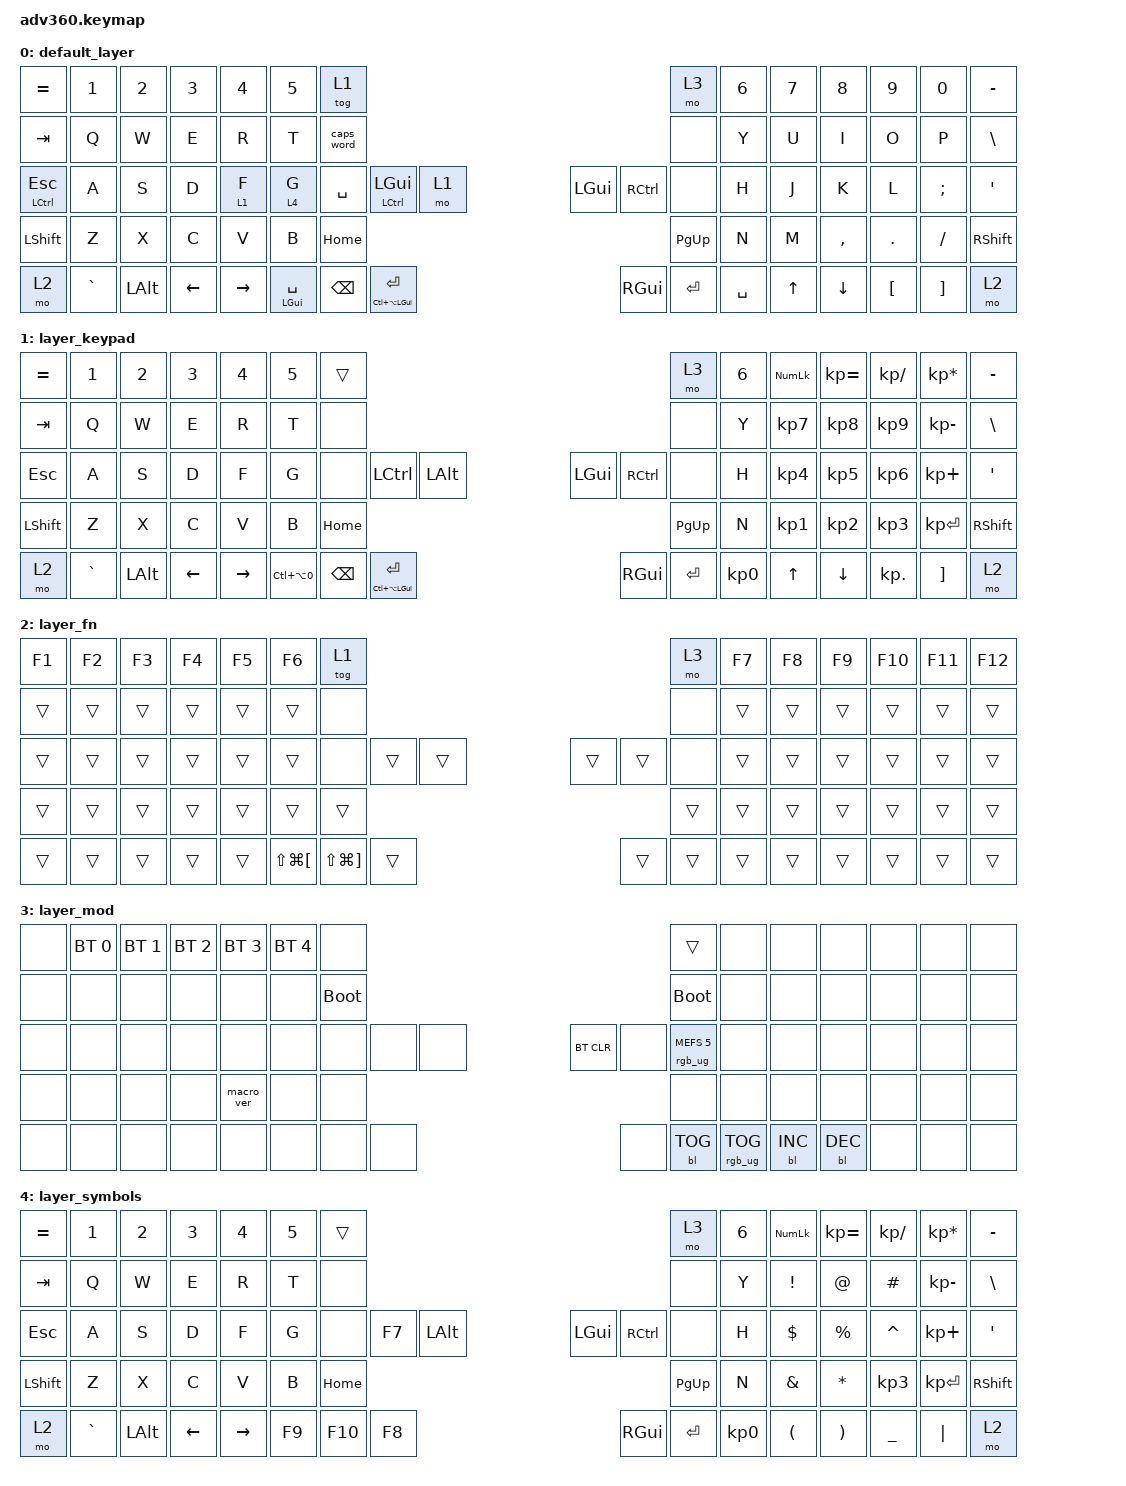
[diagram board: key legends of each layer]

/*
 * Copyright (c) 2020 The ZMK Contributors
 *
 * SPDX-License-Identifier: MIT
 */


/* THIS FILE WAS GENERATED!
 *
 * This file was generated automatically. You may or may not want to
 * edit it directly.
 */

#include <behaviors.dtsi>
#include <dt-bindings/zmk/keys.h>
#include <dt-bindings/zmk/bt.h>
#include <dt-bindings/zmk/rgb.h>
#include <dt-bindings/zmk/backlight.h>

/ {
  behaviors {
    #include "macros.dtsi"
    #include "version.dtsi"

    hm: homerow_mods {
        compatible = "zmk,behavior-hold-tap";
        label = "HOMEROW_MODS";
        #binding-cells = <2>;
        tapping-term-ms = <200>;
        quick_tap_ms = <175>;
        flavor = "tap-preferred";
        bindings = <&kp>, <&kp>;
    };
  };

    keymap {
        compatible = "zmk,keymap";


        default_layer {
            bindings = <
 &kp EQUAL     &kp N1    &kp N2    &kp N3     &kp N4   &kp N5            &tog 1                                                                                    &mo 3       &kp N6  &kp N7      &kp N8    &kp N9    &kp N0   &kp MINUS
  &kp TAB      &kp Q     &kp W     &kp E      &kp R    &kp T             &caps_word                                                                                &none       &kp Y   &kp U       &kp I     &kp O     &kp P   &kp BSLH
 &mt LCTRL ESC &kp A     &kp S     &kp D    &lt 1 F    &lt 4 G           &kp SPACE           &mt LCTRL LGUI  &mo 1                        &kp LGUI   &kp RCTRL     &none       &kp H   &kp J       &kp K     &kp L  &kp SEMI    &kp SQT
 &kp LSHFT     &kp Z     &kp X     &kp C      &kp V    &kp B                                                 &kp HOME                     &kp PG_UP                            &kp N   &kp M   &kp COMMA   &kp DOT  &kp FSLH   &kp RSHFT
     &mo 2  &kp GRAVE  &kp LALT  &kp LEFT  &kp RIGHT                     &mt LGUI SPACE      &kp BSPC        &mt LC(LA(LGUI))    ENTER    &kp RGUI  &kp ENTER  &kp SPACE               &kp UP   &kp DOWN  &kp LBKT  &kp RBKT      &mo 2
            >;
        };

        layer_keypad {
            bindings = <
 &kp EQUAL     &kp N1    &kp N2    &kp N3     &kp N4  &kp N5              &trans                                                                               &mo 3  &kp N6  &kp KP_NUM  &kp KP_EQUAL  &kp KP_DIVIDE  &kp KP_MULTIPLY  &kp MINUS
   &kp TAB      &kp Q     &kp W     &kp E      &kp R   &kp T               &none                                                                              &none   &kp Y   &kp KP_N7     &kp KP_N8      &kp KP_N9     &kp KP_MINUS   &kp BSLH
   &kp ESC      &kp A     &kp S     &kp D      &kp F   &kp G               &none             &kp LCTRL  &kp LALT                    &kp LGUI  &kp RCTRL       &none   &kp H   &kp KP_N4     &kp KP_N5      &kp KP_N6      &kp KP_PLUS    &kp SQT
 &kp LSHFT      &kp Z     &kp X     &kp C      &kp V   &kp B                                            &kp HOME                    &kp PG_UP                         &kp N   &kp KP_N1     &kp KP_N2      &kp KP_N3     &kp KP_ENTER  &kp RSHFT
     &mo 2  &kp GRAVE  &kp LALT  &kp LEFT  &kp RIGHT                     &kp LC(LA(N0))      &kp BSPC  &mt LC(LA(LGUI))    ENTER    &kp RGUI  &kp ENTER  &kp KP_N0              &kp UP      &kp DOWN     &kp KP_DOT         &kp RBKT      &mo 2
     >;
        };

        layer_fn {
            bindings = <
 &kp F1  &kp F2  &kp F3  &kp F4  &kp F5  &kp F6            &tog 1                                                      &mo 3  &kp F7  &kp F8  &kp F9  &kp F10  &kp F11  &kp F12
 &trans  &trans  &trans  &trans  &trans  &trans             &none                                                      &none  &trans  &trans  &trans   &trans   &trans   &trans
 &trans  &trans  &trans  &trans  &trans  &trans             &none  &trans    &trans            &trans  &trans   &none  &trans  &trans  &trans   &trans   &trans   &trans
 &trans  &trans  &trans  &trans  &trans  &trans                              &trans            &trans                  &trans  &trans  &trans   &trans   &trans   &trans
 &trans  &trans  &trans  &trans  &trans                    &kp LS(LG(LBKT))  &kp LS(LG(RBKT))  &trans                  &trans  &trans  &trans          &trans  &trans   &trans   &trans   &trans
            >;
        };

        layer_mod {
            bindings = <
  &none  &bt BT_SEL 0  &bt BT_SEL 1  &bt BT_SEL 2  &bt BT_SEL 3  &bt BT_SEL 4                  &none                                                                          &trans   &none       &none       &none   &none   &none   &none
  &none         &none         &none         &none         &none         &none            &bootloader                                                                     &bootloader   &none       &none       &none   &none   &none   &none
  &none         &none         &none         &none         &none         &none                  &none   &none   &none                  &bt BT_CLR       &none  &rgb_ug RGB_MEFS_CMD 5   &none       &none       &none   &none   &none   &none
  &none         &none         &none         &none    &macro_ver         &none                                  &none                       &none                                       &none       &none       &none   &none   &none   &none
  &none         &none         &none         &none         &none                                &none   &none   &none                       &none  &bl BL_TOG         &rgb_ug RGB_TOG          &bl BL_INC  &bl BL_DEC   &none   &none   &none
            >;
        };

        layer_symbols {
            bindings = <
 &kp EQUAL     &kp N1    &kp N2    &kp N3     &kp N4  &kp N5              &trans                                                                        &mo 3  &kp N6  &kp KP_NUM  &kp KP_EQUAL  &kp KP_DIVIDE  &kp KP_MULTIPLY  &kp MINUS
   &kp TAB      &kp Q     &kp W     &kp E      &kp R   &kp T               &none                                                                       &none   &kp Y   &kp EXCL      &kp AT        &kp HASH     &kp KP_MINUS   &kp BSLH
   &kp ESC      &kp A     &kp S     &kp D      &kp F   &kp G               &none  &kp F7  &kp LALT                        &kp LGUI  &kp RCTRL          &none   &kp H   &kp DLLR     &kp PRCNT      &kp CARET      &kp KP_PLUS    &kp SQT
 &kp LSHFT      &kp Z     &kp X     &kp C      &kp V   &kp B                                 &kp HOME                        &kp PG_UP                         &kp N   &kp AMPS     &kp STAR      &kp KP_N3     &kp KP_ENTER  &kp RSHFT
     &mo 2  &kp GRAVE  &kp LALT  &kp LEFT  &kp RIGHT                     &kp F9   &kp F10    &kp F8                          &kp RGUI  &kp ENTER  &kp KP_N0            &kp LPAR      &kp RPAR     &kp UNDER       &kp PIPE      &mo 2
            >;
        };


    };
};
